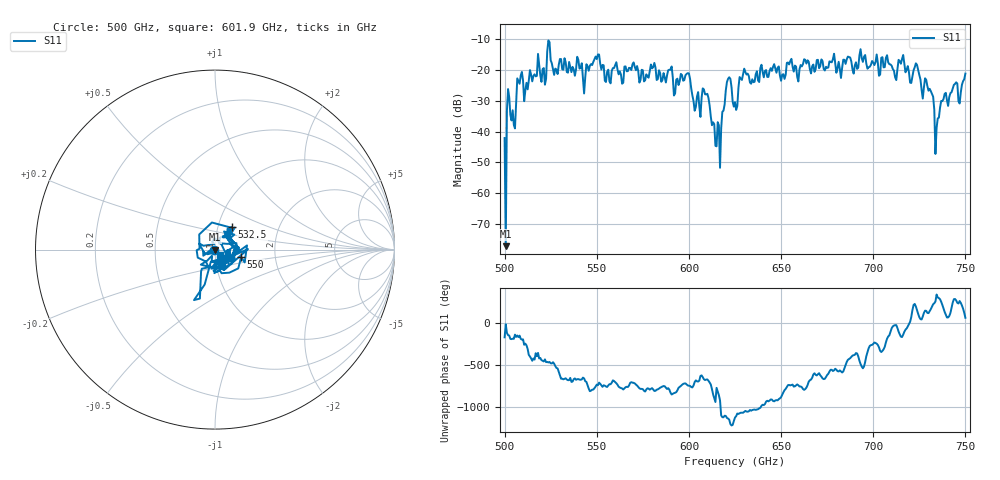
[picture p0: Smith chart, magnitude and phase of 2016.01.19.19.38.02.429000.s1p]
!Created with skrf (http://scikit-rf.org).
# GHz S RI R 50.0
!freq ReS11 ImS11
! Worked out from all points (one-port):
!   401 points, 500 GHz to 750 GHz, reference 50 ohm
!   lowest |S11| = -77.3 dB at 500.6 GHz (marker M1), VSWR 1.00, Z = 50 - j0.00457 ohm
!   |S11| at or under -10 dB: start of sweep to end of sweep
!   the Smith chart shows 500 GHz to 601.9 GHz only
!   S11 on the Smith chart (normalised r, x): 500 GHz: 0.98, -0.00; 532.5 GHz: 1.17, +0.30; 550 GHz: 1.34, -0.11; 601.9 GHz: 1.05, -0.06
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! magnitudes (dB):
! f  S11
! 500 GHz  -42.1
! 500.6 GHz  -77.3
! 502.5 GHz  -28.8
! 505 GHz  -37.8
! 508.1 GHz  -24.4
! 521.2 GHz  -19.3
! 524.4 GHz  -10.9
! 527.5 GHz  -19.5
! 531.2 GHz  -19.7
! 532.5 GHz  -16.1
! 543.8 GHz  -22.3
! 550 GHz  -16.4
! 562.5 GHz  -20.4
! 593.8 GHz  -22.8
! 599.4 GHz  -21.0
! 601.9 GHz  -28.2
! 609.4 GHz  -27.9
! 615.6 GHz  -36.9
! 621.2 GHz  -22.8
! 625 GHz  -30.4
! 630.6 GHz  -20.6
! 656.2 GHz  -18.9
! 687.5 GHz  -15.9
! 718.8 GHz  -18.7
! 729.4 GHz  -25.2
! 734.4 GHz  -38.8
! 738.1 GHz  -29.4
! 750 GHz  -21.1
